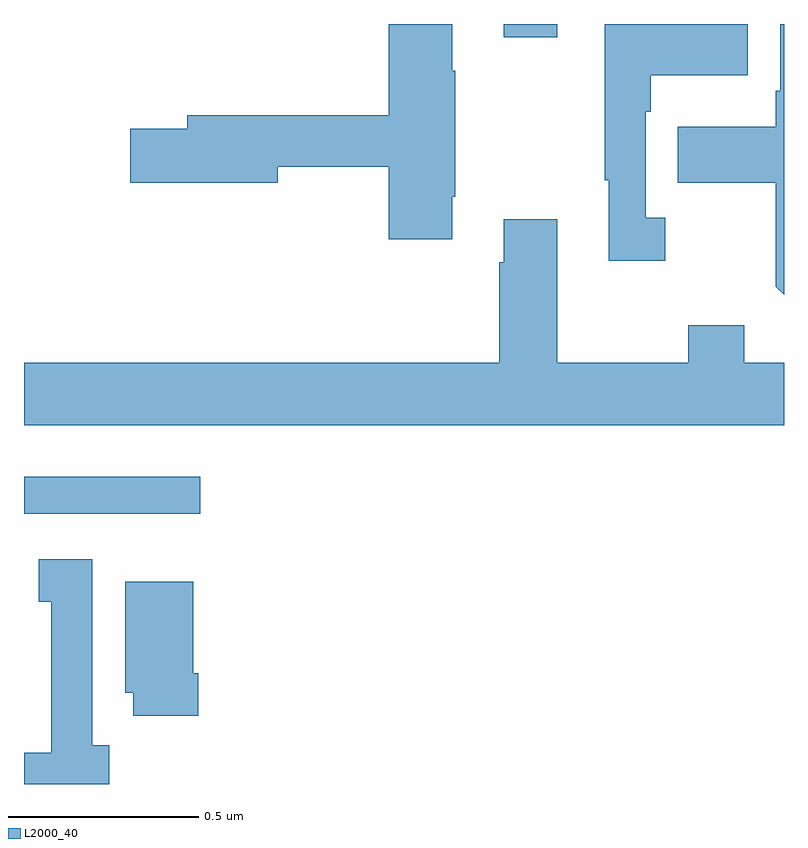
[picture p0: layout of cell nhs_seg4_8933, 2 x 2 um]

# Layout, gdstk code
import gdstk
lib = gdstk.Library(unit=1e-6, precision=1e-09)
def R(c, l, rs):  # rectangles x0, y0, x1, y1
    for r in rs: c.add(gdstk.rectangle(r[:2], r[2:], *l))
def P(c, l, *ps):  # polygons
    for p in ps: c.add(gdstk.Polygon(p, *l))
L2000_40 = (2000, 40)

nhs_seg4_8933 = lib.new_cell('nhs_seg4_8933')
R(nhs_seg4_8933, L2000_40, [(221,772.611,221.464,772.708), (222.263,773.865,222.403,773.9)])
P(nhs_seg4_8933, L2000_40, [(222.127,773.446),(222.135,773.446),(222.135,773.777),(222.127,773.777),(222.127,773.9),(221.96,773.9),(221.96,773.66),(221.429,773.66),(221.429,773.624),(221.28,773.624),(221.28,773.482),(221.668,773.482),(221.668,773.524),(221.96,773.524),(221.96,773.334),(222.127,773.334)],
  [(223,773.9),(222.99,773.9),(222.99,773.725),(222.978,773.725),(222.978,773.629),(222.721,773.629),(222.721,773.482),(222.978,773.482),(222.978,773.209),(223,773.187)],
  [(222.688,773.39),(222.636,773.39),(222.636,773.669),(222.649,773.669),(222.649,773.765),(222.905,773.765),(222.905,773.9),(222.528,773.9),(222.528,773.489),(222.539,773.489),(222.539,773.277),(222.688,773.277)],
  [(223,773.008),(222.895,773.008),(222.895,773.107),(222.748,773.107),(222.748,773.008),(222.403,773.008),(222.403,773.386),(222.263,773.386),(222.263,773.273),(222.251,773.273),(222.251,773.008),(221,773.008),(221,772.844),(223,772.844)],
  [(221.224,772.002),(221.179,772.002),(221.179,772.492),(221.039,772.492),(221.039,772.379),(221.072,772.379),(221.072,771.982),(221,771.982),(221,771.9),(221.224,771.9)],
  [(221.459,772.192),(221.446,772.192),(221.446,772.432),(221.267,772.432),(221.267,772.14),(221.288,772.14),(221.288,772.08),(221.459,772.08)])

lib.write_gds('nhs_seg4_8933.gds')
